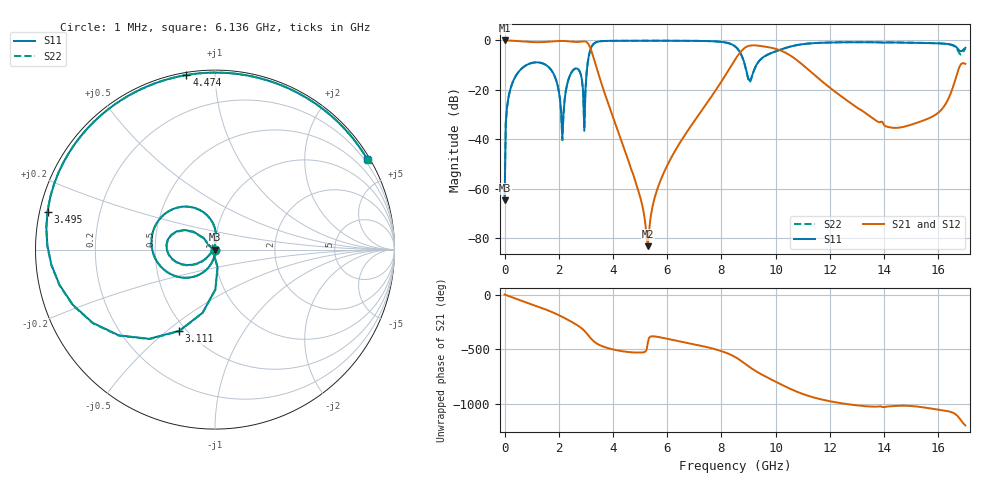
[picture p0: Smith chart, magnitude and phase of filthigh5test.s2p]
# GHz S RI R 50
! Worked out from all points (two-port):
!   400 points, 1 MHz to 17 GHz, reference 50 ohm
!   highest |S21| = 0.00 dB at 1 MHz (marker M1); lowest = -83.4 dB at 5.284 GHz (marker M2)
!   |S21| within 3 dB of the highest: start of sweep to 3.16 GHz; 8.86 GHz to 9.857 GHz (997 MHz wide, 10.7 % of centre)
!   lowest |S11| = -64.9 dB at 1 MHz (marker M3), VSWR 1.00, Z = 50 - j0.0472 ohm
!   |S11| at or under -10 dB: start of sweep to 803.5 MHz; 1.533 GHz to 3.057 GHz (1.524 GHz wide, 66.4 % of centre); 8.867 GHz to 9.287 GHz (419.5 MHz wide, 4.62 % of centre)
!   |S22| runs from -64.9 to -0.1 dB; largest |S21 - S12| = 1.5e-13
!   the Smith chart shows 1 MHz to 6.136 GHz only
!   S11 on the Smith chart (normalised r, x): 1 MHz: 1.00, -0.00; 3.111 GHz: 0.46, -0.55; 3.495 GHz: 0.02, +0.11; 4.474 GHz: 0.01, +0.85; 6.136 GHz: 0.10, +3.65
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0.001  0.000324 -0.000471  0.9997 -0.00164  0.9997 -0.00164  0.000324 -0.000471
0.04360401  -0.00105 -0.021  0.9965 -0.0709  0.9965 -0.0709  -0.00104 -0.021
0.08620802  -0.00522 -0.0414  0.9882 -0.1392  0.9882 -0.1392  -0.00521 -0.0414
0.4270401  -0.1238 -0.1526  0.7561 -0.6182  0.7561 -0.6182  -0.1236 -0.1528
1.91818  -0.0113 0.1468  -0.9694 -0.0211  -0.9694 -0.0211  -0.0113 0.1468
2.131201  -0.00945 0.00453  -0.8895 0.4051  -0.8895 0.4051  -0.00855 0.0041
2.344221  -0.1282 -0.0846  -0.5891 0.7617  -0.5891 0.7617  -0.1268 -0.0863
2.855469  -0.1208 0.1003  0.6272 0.7177  0.6272 0.7177  -0.1222 0.0985
2.940677  -0.0146 0.00163  0.8352 0.4734  0.8352 0.4734  -0.0157 0.000731
3.111093  -0.1999 -0.453  0.761 -0.2798  0.761 -0.2798  -0.1983 -0.4539
3.494529  -0.933 0.2113  -0.0337 -0.1814  -0.0337 -0.1814  -0.9341 0.2066
4.474421  -0.159 0.9727  -0.00493 -0.0015  -0.00493 -0.0015  -0.1612 0.9723
5.283897  0.4321 0.8875  1.03e-05 -6.71e-05  1.03e-05 -6.71e-05  0.4328 0.8871
5.667333  0.6494 0.7436  0.000969 -0.000512  0.000969 -0.000512  0.6509 0.742
6.135977  0.849 0.5025  0.00256 -0.0032  0.00256 -0.0032  0.8508 0.4992
7.499306  0.8512 -0.4671  -0.0308 -0.0482  -0.0308 -0.0482  0.8477 -0.4732
8.521802  -0.2197 -0.7109  -0.3526 0.2352  -0.3526 0.2352  -0.2309 -0.7052
9.373882  -0.0245 -0.3728  0.7792 0.0599  0.7792 0.0599  -0.0209 -0.3717
10.31117  -0.641 0.2545  -0.2493 -0.528  -0.2493 -0.528  -0.6257 0.2877
11.33367  0.534 0.6944  -0.1801 0.1305  -0.1801 0.1305  0.5712 0.6667
14.18814  -0.1368 -0.9001  0.00933 0.0148  0.00933 0.0148  -0.0855 -0.9114
17  -0.456 0.5465  -0.1516 -0.2997  -0.1516 -0.2997  -0.5251 0.425
